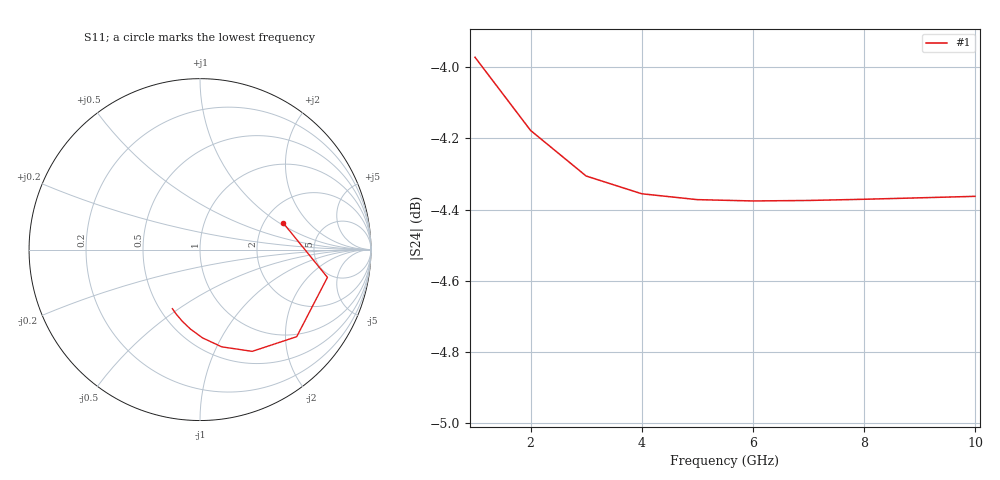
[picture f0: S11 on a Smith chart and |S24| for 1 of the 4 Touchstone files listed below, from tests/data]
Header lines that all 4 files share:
! 4 Port Network Data from SP1.SP block
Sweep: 1 GHz to 10 GHz
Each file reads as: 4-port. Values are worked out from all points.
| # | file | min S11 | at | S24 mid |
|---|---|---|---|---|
| 1 | ads_asymmetric_4port_db.s4p | -8.4 dB | 10 GHz | -4.4 dB at 6 GHz |
| 2 | ads_asymmetric_4port_ma.s4p | -8.4 dB | 10 GHz | -4.4 dB at 6 GHz |
| 3 | ads_asymmetric_4port_ri.s4p | -8.4 dB | 10 GHz | -4.4 dB at 6 GHz |
| 4 | ads_asymmetric_4port_ri_scientific.s4p | -8.4 dB | 10 GHz | -4.4 dB at 6 GHz |
